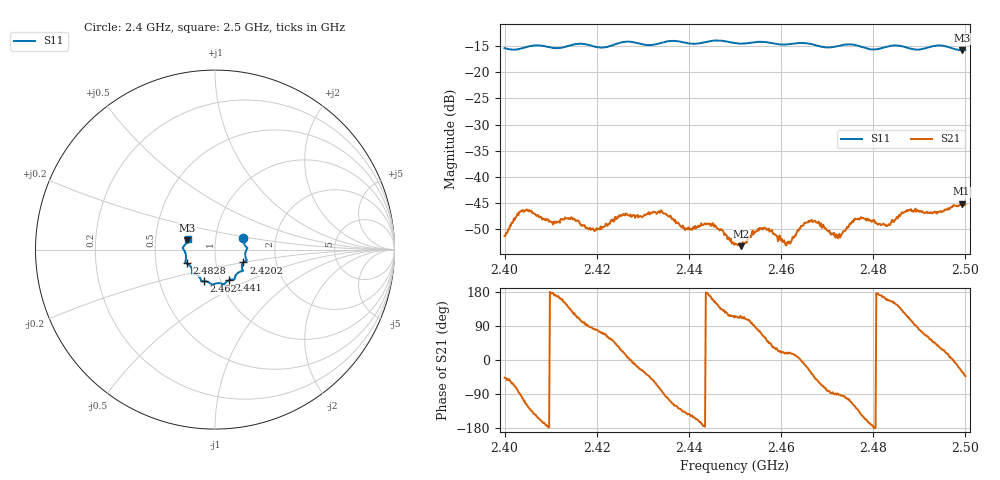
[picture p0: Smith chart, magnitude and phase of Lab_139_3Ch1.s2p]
# Hz S RI R 50
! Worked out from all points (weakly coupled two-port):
!   601 points, 2.4 GHz to 2.5 GHz, reference 50 ohm
!   highest |S21| = -45.12 dB at 2.4992 GHz (marker M1); lowest = -53.2 dB at 2.4513 GHz (marker M2)
!   lowest |S11| = -15.8 dB at 2.4993 GHz (marker M3), VSWR 1.39, Z = 36.5 + j3.88 ohm
!   |S11| at or under -10 dB: start of sweep to end of sweep
!   S12 and S22 are empty: the file has one direction only
!   S11 on the Smith chart (normalised r, x): 2.4 GHz: 1.36, +0.17; 2.4202 GHz: 1.36, -0.20; 2.441 GHz: 1.10, -0.39; 2.462 GHz: 0.84, -0.30; 2.4828 GHz: 0.72, -0.11; 2.5 GHz: 0.73, +0.09
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2.4e9  0.1583 0.0622  0.00187 -0.00199  0 0  0 0
2.404333e9  0.1714 0.0178  -0.00145 -0.00454  0 0  0 0
2.410167e9  0.1716 -0.00834  -0.00369 0.000282  0 0  0 0
2.416667e9  0.1773 -0.0608  -0.000716 0.0034  0 0  0 0
2.420167e9  0.1583 -0.0714  0.000634 0.00311  0 0  0 0
2.425333e9  0.1548 -0.1152  0.00382 0.00182  0 0  0 0
2.433333e9  0.1116 -0.1511  0.00159 -0.00435  0 0  0 0
2.441e9  0.0784 -0.1699  -0.00289 -0.00166  0 0  0 0
2.445167e9  0.0519 -0.1935  -0.00341 0.00122  0 0  0 0
2.45e9  0.0281 -0.1877  -0.00101 0.00208  0 0  0 0
2.451333e9  0.0147 -0.1871  -0.000881 0.002  0 0  0 0
2.455833e9  -0.0157 -0.195  0.00127 0.00298  0 0  0 0
2.462e9  -0.0606 -0.1759  0.0022 0.00073  0 0  0 0
2.466667e9  -0.079 -0.1681  0.00309 -0.00237  0 0  0 0
2.472333e9  -0.1162 -0.1352  3.43e-05 -0.00259  0 0  0 0
2.476333e9  -0.1275 -0.1289  -0.00245 -0.00313  0 0  0 0
2.482833e9  -0.1577 -0.0766  -0.00316 0.00122  0 0  0 0
2.483333e9  -0.1607 -0.075  -0.00328 0.0013  0 0  0 0
2.487667e9  -0.1621 -0.0529  -0.0019 0.00445  0 0  0 0
2.499167e9  -0.1551 0.0496  0.00484 -0.0027  0 0  0 0
2.499333e9  -0.1542 0.0518  0.00463 -0.00292  0 0  0 0
2.5e9  -0.1522 0.0613  0.00401 -0.0037  0 0  0 0
